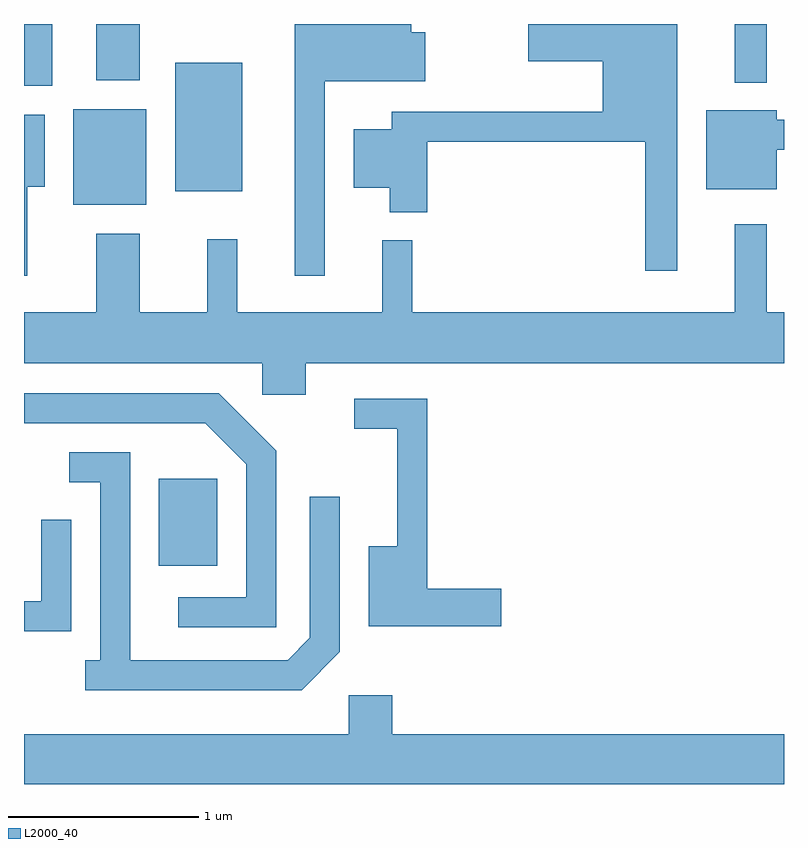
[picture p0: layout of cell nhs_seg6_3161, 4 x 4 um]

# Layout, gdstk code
import gdstk
lib = gdstk.Library(unit=1e-6, precision=1e-09)
def R(c, l, rs):  # rectangles x0, y0, x1, y1
    for r in rs: c.add(gdstk.rectangle(r[:2], r[2:], *l))
def P(c, l, *ps):  # polygons
    for p in ps: c.add(gdstk.Polygon(p, *l))
L2000_40 = (2000, 40)

nhs_seg6_3161 = lib.new_cell('nhs_seg6_3161')
R(nhs_seg6_3161, L2000_40, [(280.321,1653.311,280.629,1653.769), (279.871,1655.211,280.254,1655.714), (280.406,1655.281,280.759,1655.959), (279.611,1655.836,279.759,1656.162), (283.351,1655.853,283.519,1656.162), (279.991,1655.866,280.219,1656.162)])
P(nhs_seg6_3161, L2000_40, [(281.194,1655.861),(281.724,1655.861),(281.724,1656.119),(281.649,1656.119),(281.649,1656.162),(281.036,1656.162),(281.036,1654.838),(281.194,1654.838)],
  [(283.049,1656.162),(282.266,1656.162),(282.266,1655.966),(282.656,1655.966),(282.656,1655.699),(281.546,1655.699),(281.546,1655.609),(281.346,1655.609),(281.346,1655.301),(281.536,1655.301),(281.536,1655.171),(281.734,1655.171),(281.734,1655.541),(282.881,1655.541),(282.881,1654.863),(283.049,1654.863)],
  [(283.574,1655.501),(283.611,1655.501),(283.611,1655.659),(283.574,1655.659),(283.574,1655.709),(283.201,1655.709),(283.201,1655.291),(283.574,1655.291)],
  [(279.629,1655.306),(279.719,1655.306),(279.719,1655.684),(279.611,1655.684),(279.611,1654.836),(279.629,1654.836)],
  [(281.094,1654.376),(283.611,1654.376),(283.611,1654.644),(283.519,1654.644),(283.519,1655.108),(283.351,1655.108),(283.351,1654.644),(281.654,1654.644),(281.654,1655.023),(281.496,1655.023),(281.496,1654.644),(280.734,1654.644),(280.734,1655.028),(280.576,1655.028),(280.576,1654.644),(280.219,1654.644),(280.219,1655.059),(279.991,1655.059),(279.991,1654.644),(279.611,1654.644),(279.611,1654.376),(280.866,1654.376),(280.866,1654.211),(281.094,1654.211)],
  [(280.939,1653.917),(280.637,1654.219),(279.611,1654.219),(279.611,1654.061),(280.564,1654.061),(280.781,1653.844),(280.781,1653.144),(280.423,1653.144),(280.423,1652.986),(280.939,1652.986)],
  [(282.124,1653.189),(281.734,1653.189),(281.734,1654.189),(281.348,1654.189),(281.348,1654.031),(281.576,1654.031),(281.576,1653.414),(281.426,1653.414),(281.426,1652.991),(282.124,1652.991)],
  [(281.274,1652.859),(281.274,1653.673),(281.116,1653.673),(281.116,1652.932),(280.999,1652.814),(280.169,1652.814),(280.169,1653.909),(279.848,1653.909),(279.848,1653.751),(280.011,1653.751),(280.011,1652.814),(279.933,1652.814),(279.933,1652.656),(281.072,1652.656)],
  [(279.859,1653.553),(279.701,1653.553),(279.701,1653.124),(279.611,1653.124),(279.611,1652.966),(279.859,1652.966)],
  [(283.611,1652.424),(281.549,1652.424),(281.549,1652.629),(281.321,1652.629),(281.321,1652.424),(279.611,1652.424),(279.611,1652.162),(283.611,1652.162)])

lib.write_gds('nhs_seg6_3161.gds')
